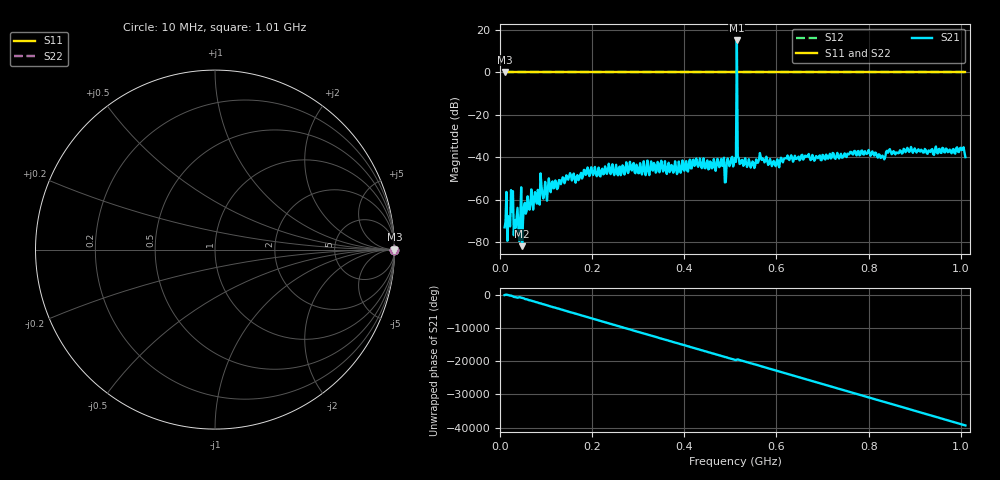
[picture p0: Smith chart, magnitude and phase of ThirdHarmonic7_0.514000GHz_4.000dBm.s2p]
! 8/17/2025 3:00:31 PM
! C:\ANRITSUVNA\TEMP\TEMP.S2P
! CHANNEL.1
! TR.MEASUREMENT
! RAW.DATA
! RF.CORRECTION.OFF
! AVERAGING.OFF
! IF.BANDWIDTH: 5KHZ
! SWEEPTYPE:  FREQ.SWEEP(Linear)
! Reference Plane Port Info
! PORT:  PORT1  PORT2
! DISTANCE:  0  m  0  m
! TIME:  0  s  0  s
! PHASE.OFFSET:  0  deg.  0  deg.
! LOSS:  0  dB  0  dB
! REF.LOSS:  0  dB  0  dB
! REF.FREQ:  0  Hz  0  Hz
! Power Info
! POWER:  -20  dBm  -20  dBm
! EFF.POWER:  -20  dBm  -20  dBm
! SOURCE.ATTEN:  0  dB  0  dB
! TEST.ATTEN:  0  dB  0  dB
# GHZ S RI R 50.0
! FREQ.GHZ  S11RE  S11IM  S21RE  S21IM  S12RE  S12IM  S22RE  S22IM
!; PortSelection: Port_12
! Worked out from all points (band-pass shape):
!   501 points, 10 MHz to 1.01 GHz, reference 50 ohm
!   highest |S21| = 14.86 dB at 514 MHz (marker M1); lowest = -81.8 dB at 48 MHz (marker M2)
!   |S21| within 3 dB of the highest: 513.8948 MHz to 514.1098 MHz (215 kHz wide, 0.0418 % of centre)
!   lowest |S11| = 0.0 dB at 10 MHz (marker M3)
!   |S11| at or under -10 dB: nowhere
!   |S22| runs from 0.0 to 0.0 dB; largest |S21 - S12| = 5.8
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0.01  1 0  -0.000142 -0.000175  1 0  1 0
0.02  1 0  -0.00026 6.52e-05  1 0  1 0
0.024  1 0  0.000576 0.00159  1 0  1 0
0.038  1 0  -0.000589 0.00027  1 0  1 0
0.048  1 0  -3.03e-05 7.57e-05  1 0  1 0
0.082  1 0  -0.00138 0.00101  1 0  1 0
0.086  1 0  0.000487 -0.000598  1 0  1 0
0.098  1 0  -0.00241 -0.00109  1 0  1 0
0.11  1 0  0.000362 0.00147  1 0  1 0
0.178  1 0  -0.00305 -0.000819  1 0  1 0
0.344  1 0  0.00693 -0.00181  1 0  1 0
0.482  1 0  -0.00466 -0.00426  1 0  1 0
0.486  1 0  0.00113 0.00969  1 0  1 0
0.508  1 0  0.00168 -0.00725  1 0  1 0
0.51  1 0  -0.00945 -0.00132  1 0  1 0
0.514  1 0  -0.8652 -5.467  1 0  1 0
0.518  1 0  -0.00719 -0.00649  1 0  1 0
0.52  1 0  -0.0055 0.00425  1 0  1 0
0.678  1 0  0.00544 -0.00993  1 0  1 0
0.83  1 0  0.00717 -0.00825  1 0  1 0
0.844  1 0  -0.00623 0.0129  1 0  1 0
1.01  1 0  0.00103 -0.01  1 0  1 0
